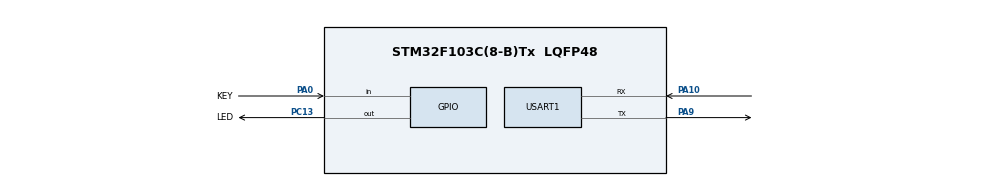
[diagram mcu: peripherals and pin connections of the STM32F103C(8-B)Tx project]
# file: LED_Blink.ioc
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Mcu.Family=STM32F1
Mcu.Name=STM32F103C(8-B)Tx
Mcu.Package=LQFP48
NVIC.PriorityGroup=NVIC_PRIORITYGROUP_4
PA0-WKUP.GPIO_Label=KEY
PA0-WKUP.GPIO_PuPd=GPIO_PULLUP
PA0-WKUP.Signal=GPIO_Input
PA10.Mode=Asynchronous
PA10.Signal=USART1_RX
PA13.Mode=Serial_Wire
PA13.Signal=SYS_JTMS-SWDIO
PA14.Mode=Serial_Wire
PA14.Signal=SYS_JTCK-SWCLK
PA9.Mode=Asynchronous
PA9.Signal=USART1_TX
PC13-TAMPER-RTC.GPIO_Label=LED
PC13-TAMPER-RTC.Signal=GPIO_Output
ProjectManager.HeapSize=0x200
ProjectManager.StackSize=0x400
ProjectManager.TargetToolchain=STM32CubeIDE
RCC.APB1Freq_Value=8000000
RCC.APB2Freq_Value=8000000
USART1.VirtualMode=VM_ASYNC
board=custom

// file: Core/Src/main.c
/* USER CODE BEGIN Header */
/**
  ******************************************************************************
  * @file           : main.c
  * @brief          : Main program body
  ******************************************************************************
  * @attention
  *
  * Copyright (c) 2026 STMicroelectronics.
  * All rights reserved.
  *
  * This software is licensed under terms that can be found in the LICENSE file
  * in the root directory of this software component.
  * If no LICENSE file comes with this software, it is provided AS-IS.
  *
  ******************************************************************************
  */
/* USER CODE END Header */
#include "main.h"

/* USER CODE BEGIN Includes */
#include<stdio.h>
/* USER CODE END Includes */

UART_HandleTypeDef huart1;

void SystemClock_Config(void);
static void MX_GPIO_Init(void);
static void MX_USART1_UART_Init(void);

int main(void)
{

  /* MCU Configuration--------------------------------------------------------*/

  /* Reset of all peripherals, Initializes the Flash interface and the Systick. */
  HAL_Init();

  /* Configure the system clock */
  SystemClock_Config();

  /* Initialize all configured peripherals */
  MX_GPIO_Init();
  MX_USART1_UART_Init();
  /* USER CODE BEGIN 2 */
char hello[]="hello\r\n";
HAL_UART_Transmit(&huart1,(uint8_t*)hello,sizeof(hello)-1,100);
uint8_t mode=0;
GPIO_PinState last =HAL_GPIO_ReadPin(KEY_GPIO_Port,KEY_Pin);
uint32_t last_blink=0;
GPIO_PinState stable = last;
uint32_t last_change_ms=0;
  /* USER CODE END 2 */

  /* Infinite loop */
  while (1)
  {

    /* USER CODE BEGIN 3 */
	GPIO_PinState now=HAL_GPIO_ReadPin(KEY_GPIO_Port,KEY_Pin);
	if(now!=last){
		last=now;
	    last_change_ms=HAL_GetTick();
	}
	if(now!=stable && HAL_GetTick()-last_change_ms>5){
		stable=now;
		if(stable==GPIO_PIN_RESET){
			mode=(mode+1)%3;
			char msg[32];
			int len=sprintf(msg,"MODE=%u\r\n",mode);
			HAL_UART_Transmit(&huart1,(uint8_t*)msg,len,100);
		}
	}
	if(mode==0){HAL_GPIO_WritePin(LED_GPIO_Port,LED_Pin,GPIO_PIN_SET);}
	else if (mode==1){if(HAL_GetTick()-last_blink>=500){last_blink=HAL_GetTick();
	HAL_GPIO_TogglePin(LED_GPIO_Port,LED_Pin);
	}}else {if (HAL_GetTick()-last_blink>=100){last_blink=HAL_GetTick();
	HAL_GPIO_TogglePin(LED_GPIO_Port,LED_Pin);
	}
	}
  }
  /* USER CODE END 3 */
}

void SystemClock_Config(void)
{
  RCC_OscInitTypeDef RCC_OscInitStruct = {0};
  RCC_ClkInitTypeDef RCC_ClkInitStruct = {0};

  /** Initializes the RCC Oscillators according to the specified parameters
  * in the RCC_OscInitTypeDef structure.
  */
  RCC_OscInitStruct.OscillatorType = RCC_OSCILLATORTYPE_HSI;
  RCC_OscInitStruct.HSIState = RCC_HSI_ON;
  RCC_OscInitStruct.HSICalibrationValue = RCC_HSICALIBRATION_DEFAULT;
  RCC_OscInitStruct.PLL.PLLState = RCC_PLL_NONE;
  if (HAL_RCC_OscConfig(&RCC_OscInitStruct) != HAL_OK)
  {
    Error_Handler();
  }

  /** Initializes the CPU, AHB and APB buses clocks
  */
  RCC_ClkInitStruct.ClockType = RCC_CLOCKTYPE_HCLK|RCC_CLOCKTYPE_SYSCLK
                              |RCC_CLOCKTYPE_PCLK1|RCC_CLOCKTYPE_PCLK2;
  RCC_ClkInitStruct.SYSCLKSource = RCC_SYSCLKSOURCE_HSI;
  RCC_ClkInitStruct.AHBCLKDivider = RCC_SYSCLK_DIV1;
  RCC_ClkInitStruct.APB1CLKDivider = RCC_HCLK_DIV1;
  RCC_ClkInitStruct.APB2CLKDivider = RCC_HCLK_DIV1;

  if (HAL_RCC_ClockConfig(&RCC_ClkInitStruct, FLASH_LATENCY_0) != HAL_OK)
  {
    Error_Handler();
  }
}

static void MX_USART1_UART_Init(void)
{

  huart1.Instance = USART1;
  huart1.Init.BaudRate = 115200;
  huart1.Init.WordLength = UART_WORDLENGTH_8B;
  huart1.Init.StopBits = UART_STOPBITS_1;
  huart1.Init.Parity = UART_PARITY_NONE;
  huart1.Init.Mode = UART_MODE_TX_RX;
  huart1.Init.HwFlowCtl = UART_HWCONTROL_NONE;
  huart1.Init.OverSampling = UART_OVERSAMPLING_16;
  if (HAL_UART_Init(&huart1) != HAL_OK)
  {
    Error_Handler();
  }

}

static void MX_GPIO_Init(void)
{
  GPIO_InitTypeDef GPIO_InitStruct = {0};

  /* GPIO Ports Clock Enable */
  __HAL_RCC_GPIOC_CLK_ENABLE();
  __HAL_RCC_GPIOA_CLK_ENABLE();

  /*Configure GPIO pin Output Level */
  HAL_GPIO_WritePin(LED_GPIO_Port, LED_Pin, GPIO_PIN_RESET);

  /*Configure GPIO pin : LED_Pin */
  GPIO_InitStruct.Pin = LED_Pin;
  GPIO_InitStruct.Mode = GPIO_MODE_OUTPUT_PP;
  GPIO_InitStruct.Pull = GPIO_NOPULL;
  GPIO_InitStruct.Speed = GPIO_SPEED_FREQ_LOW;
  HAL_GPIO_Init(LED_GPIO_Port, &GPIO_InitStruct);

  /*Configure GPIO pin : KEY_Pin */
  GPIO_InitStruct.Pin = KEY_Pin;
  GPIO_InitStruct.Mode = GPIO_MODE_INPUT;
  GPIO_InitStruct.Pull = GPIO_PULLUP;
  HAL_GPIO_Init(KEY_GPIO_Port, &GPIO_InitStruct);

}

void Error_Handler(void)
{
  __disable_irq();
  while (1)
  {
  }
}
